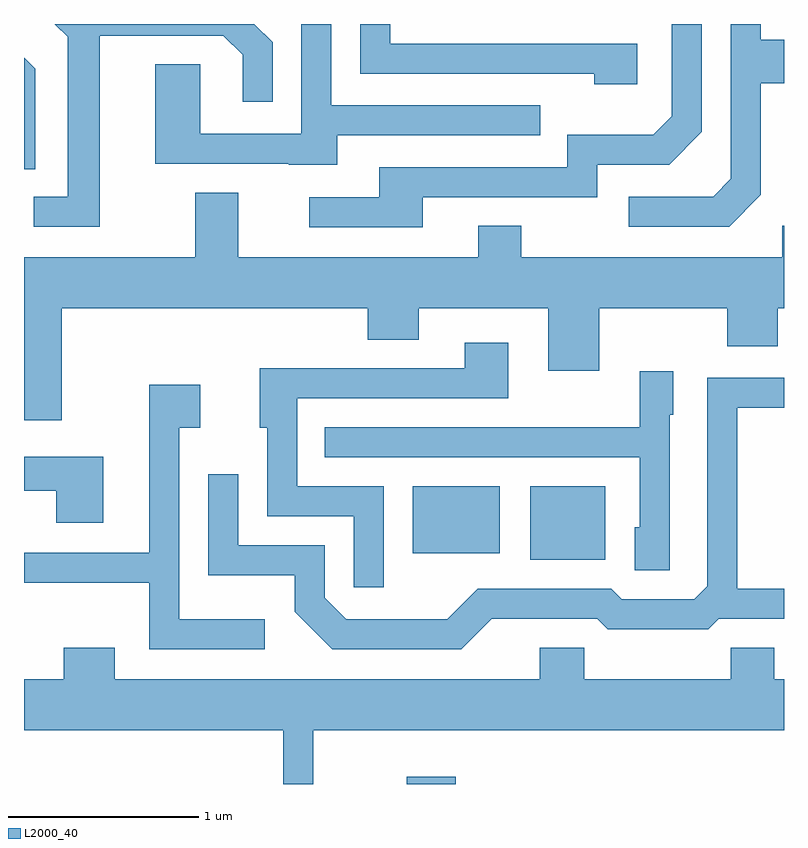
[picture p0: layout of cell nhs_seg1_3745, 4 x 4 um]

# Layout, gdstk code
import gdstk
lib = gdstk.Library(unit=1e-6, precision=1e-09)
def R(c, l, rs):  # rectangles x0, y0, x1, y1
    for r in rs: c.add(gdstk.rectangle(r[:2], r[2:], *l))
def P(c, l, *ps):  # polygons
    for p in ps: c.add(gdstk.Polygon(p, *l))
L2000_40 = (2000, 40)

nhs_seg1_3745 = lib.new_cell('nhs_seg1_3745')
R(nhs_seg1_3745, L2000_40, [(299.626,923.712,299.884,923.749), (300.276,924.891,300.669,925.279), (299.656,924.926,300.114,925.279)])
P(nhs_seg1_3745, L2000_40, [(299.259,927.126),(300.328,927.126),(300.328,927.284),(299.229,927.284),(299.229,927.712),(299.071,927.712),(299.071,927.134),(298.539,927.134),(298.539,927.499),(298.301,927.499),(298.301,926.976),(299.005,926.976),(299.005,926.971),(299.259,926.971)],
  [(300.839,927.609),(299.539,927.609),(299.539,927.712),(299.381,927.712),(299.381,927.451),(300.611,927.451),(300.611,927.396),(300.839,927.396)],
  [(301.489,926.814),(301.489,927.401),(301.611,927.401),(301.611,927.629),(301.489,927.629),(301.489,927.712),(301.331,927.712),(301.331,926.897),(301.239,926.804),(300.793,926.804),(300.793,926.646),(301.322,926.646)],
  [(298.009,927.651),(298.659,927.651),(298.761,927.549),(298.761,927.303),(298.919,927.303),(298.919,927.617),(298.824,927.712),(297.773,927.712),(297.841,927.644),(297.841,926.804),(297.663,926.804),(297.663,926.646),(298.009,926.646)],
  [(299.709,926.801),(300.629,926.801),(300.629,926.971),(301.007,926.971),(301.179,927.144),(301.179,927.712),(301.021,927.712),(301.021,927.227),(300.924,927.129),(300.471,927.129),(300.471,926.959),(299.481,926.959),(299.481,926.799),(299.113,926.799),(299.113,926.641),(299.709,926.641)],
  [(297.669,927.477),(297.611,927.535),(297.611,926.948),(297.669,926.948)],
  [(297.809,926.216),(299.421,926.216),(299.421,926.051),(299.689,926.051),(299.689,926.216),(300.371,926.216),(300.371,925.886),(300.639,925.886),(300.639,926.216),(301.311,926.216),(301.311,926.016),(301.579,926.016),(301.579,926.216),(301.611,926.216),(301.611,926.649),(301.601,926.649),(301.601,926.484),(300.229,926.484),(300.229,926.649),(300.001,926.649),(300.001,926.484),(298.739,926.484),(298.739,926.824),(298.511,926.824),(298.511,926.484),(297.611,926.484),(297.611,925.626),(297.809,925.626)],
  [(299.504,925.279),(299.049,925.279),(299.049,925.741),(300.159,925.741),(300.159,926.034),(299.931,926.034),(299.931,925.899),(298.851,925.899),(298.851,925.586),(298.891,925.586),(298.891,925.121),(299.346,925.121),(299.346,924.748),(299.504,924.748)],
  [(301.009,925.656),(301.029,925.656),(301.029,925.884),(300.851,925.884),(300.851,925.589),(299.193,925.589),(299.193,925.431),(300.851,925.431),(300.851,925.064),(300.826,925.064),(300.826,924.836),(301.009,924.836)],
  [(300.072,924.581),(300.629,924.581),(300.684,924.526),(301.212,924.526),(301.267,924.581),(301.611,924.581),(301.611,924.739),(301.364,924.739),(301.364,925.691),(301.611,925.691),(301.611,925.849),(301.206,925.849),(301.206,924.752),(301.139,924.684),(300.757,924.684),(300.702,924.739),(299.999,924.739),(299.839,924.579),(299.307,924.579),(299.194,924.692),(299.194,924.969),(298.739,924.969),(298.739,925.343),(298.581,925.343),(298.581,924.811),(299.036,924.811),(299.036,924.619),(299.234,924.421),(299.912,924.421)],
  [(298.878,924.579),(298.429,924.579),(298.429,925.586),(298.539,925.586),(298.539,925.814),(298.271,925.814),(298.271,924.929),(297.611,924.929),(297.611,924.771),(298.271,924.771),(298.271,924.421),(298.878,924.421)],
  [(298.029,925.434),(297.611,925.434),(297.611,925.256),(297.781,925.256),(297.781,925.086),(298.029,925.086)],
  [(297.821,924.429),(297.821,924.264),(297.611,924.264),(297.611,923.996),(298.976,923.996),(298.976,923.712),(299.134,923.712),(299.134,923.996),(301.611,923.996),(301.611,924.264),(301.559,924.264),(301.559,924.429),(301.331,924.429),(301.331,924.264),(300.559,924.264),(300.559,924.429),(300.326,924.429),(300.326,924.264),(298.089,924.264),(298.089,924.429)])

lib.write_gds('nhs_seg1_3745.gds')
